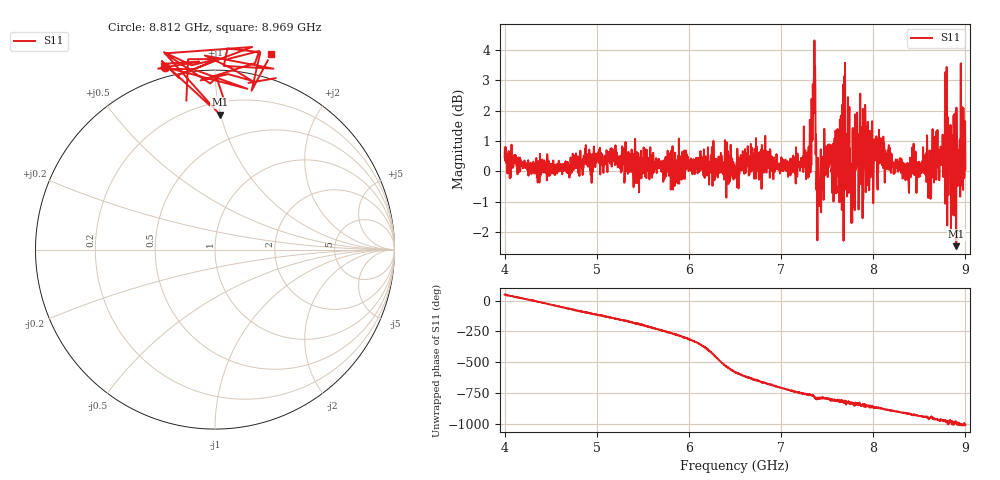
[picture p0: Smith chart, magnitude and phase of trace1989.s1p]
! Created with skrf 1.8.0 (http://scikit-rf.org).
# Hz S RI R 50.0
!freq ReS11 ImS11
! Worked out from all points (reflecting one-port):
!   1601 points, 4 GHz to 9 GHz, reference 50 ohm
!   lowest |S11| = -2.5 dB at 8.9 GHz (marker M1), VSWR 7.09, Z = 14.3 + j49.7 ohm
!   phase of S11 starts at 48 deg and turns -1053 deg over the sweep
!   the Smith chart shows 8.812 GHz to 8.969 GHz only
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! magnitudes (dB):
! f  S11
! 4 GHz  0.5
! 4.625 GHz  -0.1
! 5.25 GHz  0.1
! 5.875 GHz  0.4
! 6.5 GHz  0.0
! 6.806 GHz  0.5
! 7.125 GHz  0.2
! 7.297 GHz  0.7
! 7.356 GHz  3.1
! 7.4 GHz  0.4
! 7.409 GHz  -0.8
! 7.494 GHz  0.0
! 7.578 GHz  0.9
! 7.669 GHz  0.7
! 7.75 GHz  -0.3
! 7.775 GHz  1.3
! 7.834 GHz  0.4
! 7.909 GHz  0.7
! 7.928 GHz  1.2
! 7.981 GHz  0.2
! 8.097 GHz  0.2
! 8.375 GHz  0.2
! 8.434 GHz  0.2
! 8.612 GHz  0.7
! 8.775 GHz  0.3
! 8.9 GHz  -2.5
! 8.972 GHz  0.6
! 9 GHz  0.1
